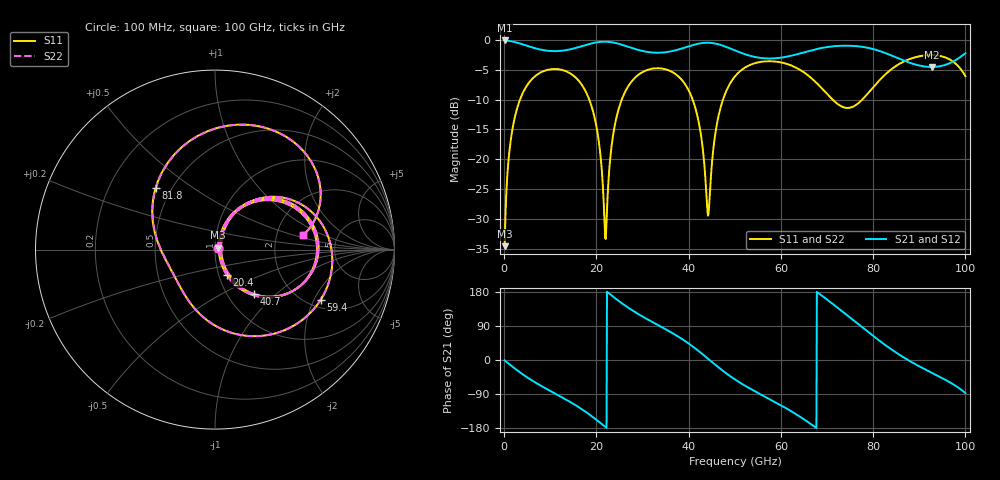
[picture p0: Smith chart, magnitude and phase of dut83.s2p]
! Touchstone file exported from HFSS 2026.1.0
!  File:  C:/ffzhzh/LocalFiles/Ansys_Project_Files/temp_train_TSV_RDL_83_1783629582_29156.aedt
!  Generated:  04:47:18 AM Jul 10, 2026
!  Design:  TSV_RDL
!  Project:  temp_train_TSV_RDL_83_1783629582_29156
! Variables:
!  h_bsmrdl = 3.81um
!  h_ox = 20um
!  h_rdl = 5um
!  h_sub = 69.76um
!  h_tmrdl = 2.26um
!  h_tsv = 69.76um
!  h_via = 3um
!  l_bsmrdl = 431.84um
!  l_sub = 2640.61um
!  l_tmrdl = 209.16um
!  m_sub = 200um
!  pitch = 54.79um
!  r_tsv = 12.88um
!  s_tmrdl = 10um
!  w_bsmrdl = 14.92um
!  w_sub = 500um
!  w_tmrdl = 21.23um
!  x_tsv_center1 = 219.775um
!  x_tsv_center2 = 666.535um
!  x_tsv_center3 = 896.925um
!  x_tsv_center4 = 1343.685um
!  x_tsv_center5 = 1574.075um
!  x_tsv_center6 = 2020.835um
# GHz S MA R 50.000000
! Terminal data exported
! Port[1] = TM_RDL1_1_T1
! Port[2] = TM_RDL5_1_T1
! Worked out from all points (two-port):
!   1000 points, 100 MHz to 100 GHz, reference 50 ohm
!   highest |S21| = -0.14 dB at 100 MHz (marker M1); lowest = -4.6 dB at 92.7 GHz (marker M2)
!   |S21| within 3 dB of the highest: start of sweep to 56.86 GHz; 58.24 GHz to 85.49 GHz (27.25 GHz wide, 37.9 % of centre) (the widest 2 of 3)
!   lowest |S11| = -34.5 dB at 100 MHz (marker M3), VSWR 1.04, Z = 51.6 + j1.09 ohm
!   |S11| at or under -10 dB: 18.44 GHz to 25.51 GHz (7.066 GHz wide, 32.2 % of centre); 40.86 GHz to 47.45 GHz (6.592 GHz wide, 14.9 % of centre); 71.19 GHz to 77.65 GHz (6.457 GHz wide, 8.68 % of centre) (the widest 3 of 4)
!   |S22| runs from -34.5 to -2.6 dB; largest |S21 - S12| = 2.2e-13
!   S11 on the Smith chart (normalised r, x): 100 MHz: 1.03, +0.02; 20.4 GHz: 1.09, -0.31; 40.7 GHz: 1.32, -0.73; 59.4 GHz: 2.32, -2.26; 81.8 GHz: 0.41, +0.36; 100 GHz: 2.82, +0.59
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0.1  0.01885 34.2  0.9845 -1.0  0.9845 -1.0  0.01885 34.2
! Gamma 0 0 0 0
! Port Impedance 50 0 50 0
1.6  0.1606 67.3  0.9678 -15.8  0.9678 -15.8  0.1606 67.3
4.4  0.3815 45.9  0.9033 -41.0  0.9033 -41.0  0.3815 45.9
10.7  0.5685 2.3  0.8019 -86.3  0.8019 -86.3  0.5685 2.3
16.8  0.4213 -39.1  0.8808 -129.6  0.8808 -129.6  0.4213 -39.1
20.4  0.1529 -65.2  0.9538 -161.6  0.9538 -161.6  0.1528 -65.2
22  0.02164 8.3  0.9619 -177.1  0.9619 -177.1  0.02148 8.4
23.5  0.1484 68.9  0.9486 168.3  0.9486 168.3  0.1484 69.0
25.4  0.3083 56.2  0.9096 150.8  0.9096 150.8  0.3083 56.2
33.4  0.577 1.1  0.7774 91.9  0.7774 91.9  0.5771 1.1
40.7  0.3281 -48.9  0.8959 37.4  0.8959 37.4  0.3282 -48.9
44.2  0.03386 -0.9  0.9427 3.4  0.9427 3.4  0.03347 -1.0
46.5  0.2326 61.4  0.9135 -19.7  0.9135 -19.7  0.2325 61.5
50.1  0.4961 34.8  0.8105 -51.7  0.8105 -51.7  0.496 34.9
59.4  0.6517 -25.5  0.7025 -115.4  0.7025 -115.4  0.6517 -25.4
66.7  0.4735 -78.6  0.8157 -170.8  0.8157 -170.8  0.4734 -78.6
70.8  0.3273 -115.1  0.8754 152.1  0.8754 152.1  0.327 -115.2
75.2  0.2716 -159.6  0.8885 110.1  0.8885 110.1  0.2713 -159.9
81.8  0.4763 134.0  0.7942 47.0  0.7942 47.0  0.4761 133.8
83.4  0.5436 120.0  0.7525 32.7  0.7525 32.7  0.5434 119.8
92.7  0.743 55.4  0.5912 -33.6  0.5912 -33.6  0.743 55.3
100  0.4952 9.2  0.7709 -87.4  0.7709 -87.4  0.4954 9.2
